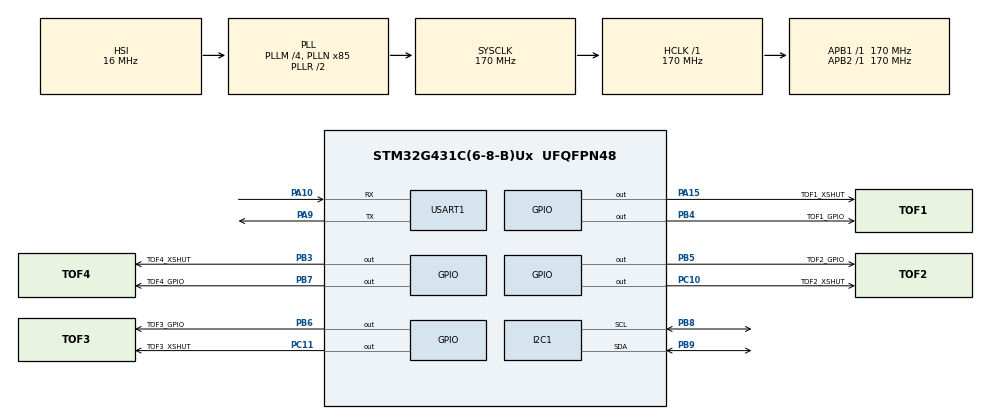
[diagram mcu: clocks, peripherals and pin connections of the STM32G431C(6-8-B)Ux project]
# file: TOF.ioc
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I2C1.I2C_Fall_Time=100
I2C1.I2C_Rise_Time=100
I2C1.Timing=0x40B285C2
Mcu.Family=STM32G4
Mcu.Name=STM32G431C(6-8-B)Ux
Mcu.Package=UFQFPN48
NVIC.PriorityGroup=NVIC_PRIORITYGROUP_4
PA10.Mode=Asynchronous
PA10.Signal=USART1_RX
PA13.Mode=Serial_Wire
PA13.Signal=SYS_JTMS-SWDIO
PA14.Mode=Serial_Wire
PA14.Signal=SYS_JTCK-SWCLK
PA15.GPIO_Label=TOF1_XSHUT
PA15.Signal=GPIO_Output
PA9.Mode=Asynchronous
PA9.Signal=USART1_TX
PB3.GPIO_Label=TOF4_XSHUT
PB3.Signal=GPIO_Output
PB4.GPIO_Label=TOF1_GPIO
PB4.Signal=GPIO_Output
PB5.GPIO_Label=TOF2_GPIO
PB5.Signal=GPIO_Output
PB6.GPIO_Label=TOF3_GPIO
PB6.Signal=GPIO_Output
PB7.GPIO_Label=TOF4_GPIO
PB7.Signal=GPIO_Output
PB8-BOOT0.Mode=I2C
PB8-BOOT0.Signal=I2C1_SCL
PB9.Mode=I2C
PB9.Signal=I2C1_SDA
PC10.GPIO_Label=TOF2_XSHUT
PC10.Signal=GPIO_Output
PC11.GPIO_Label=TOF3_XSHUT
PC11.Signal=GPIO_Output
ProjectManager.HeapSize=0x200
ProjectManager.StackSize=0x400
ProjectManager.TargetToolchain=STM32CubeIDE
RCC.ADC12Freq_Value=170000000
RCC.AHBFreq_Value=170000000
RCC.APB1Freq_Value=170000000
RCC.APB1TimFreq_Value=170000000
RCC.APB2Freq_Value=170000000
RCC.APB2TimFreq_Value=170000000
RCC.CortexFreq_Value=170000000
RCC.EXTERNAL_CLOCK_VALUE=12288000
RCC.HCLKFreq_Value=170000000
RCC.HSE_VALUE=8000000
RCC.HSI48_VALUE=48000000
RCC.HSI_VALUE=16000000
RCC.LSE_VALUE=32768
RCC.PLLM=RCC_PLLM_DIV4
RCC.PLLN=85
RCC.SYSCLKFreq_VALUE=170000000
RCC.SYSCLKSource=RCC_SYSCLKSOURCE_PLLCLK
RCC.USBFreq_Value=170000000
RCC.VCOOutputFreq_Value=340000000
USART1.VirtualMode-Asynchronous=VM_ASYNC
VP_SYS_VS_DBSignals.Mode=DisableDeadBatterySignals
board=custom

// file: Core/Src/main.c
/* USER CODE BEGIN Header */
/**
  ******************************************************************************
  * @file           : main.c
  * @brief          : Main program body
  ******************************************************************************
  * @attention
  *
  * Copyright (c) 2025 STMicroelectronics.
  * All rights reserved.
  *
  * This software is licensed under terms that can be found in the LICENSE file
  * in the root directory of this software component.
  * If no LICENSE file comes with this software, it is provided AS-IS.
  *
  ******************************************************************************
  */
/* USER CODE END Header */
#include "main.h"

/* USER CODE BEGIN Includes */
#include "VL53L0X.h"
#include "stdio.h"
#include "string.h"
/* USER CODE END Includes */

I2C_HandleTypeDef hi2c1;

UART_HandleTypeDef huart1;

/* USER CODE BEGIN PV */
VL53L0X_Dev_t tof1, tof2, tof3, tof4;
statInfo_t_VL53L0X measure1, measure2, measure3, measure4;
uint16_t dist1, dist2, dist3, dist4;
/* USER CODE END PV */

void SystemClock_Config(void);
static void MX_GPIO_Init(void);
static void MX_I2C1_Init(void);
static void MX_USART1_UART_Init(void);

/* USER CODE BEGIN 0 */
int __io_putchar(int ch)
{
	HAL_UART_Transmit(&huart1, (uint8_t*)&ch, 1, HAL_MAX_DELAY);

	return ch;
}

/* USER CODE END 0 */

int main(void)
{

  /* MCU Configuration--------------------------------------------------------*/

  /* Reset of all peripherals, Initializes the Flash interface and the Systick. */
  HAL_Init();

  /* Configure the system clock */
  SystemClock_Config();

  /* Initialize all configured peripherals */
  MX_GPIO_Init();
  MX_I2C1_Init();
  MX_USART1_UART_Init();
  /* USER CODE BEGIN 2 */
  // Reset all sensors
  HAL_GPIO_WritePin(TOF1_XSHUT_GPIO_Port, TOF1_XSHUT_Pin, GPIO_PIN_RESET);
  HAL_GPIO_WritePin(TOF2_XSHUT_GPIO_Port, TOF2_XSHUT_Pin, GPIO_PIN_RESET);
  HAL_GPIO_WritePin(TOF3_XSHUT_GPIO_Port, TOF3_XSHUT_Pin, GPIO_PIN_RESET);
  HAL_GPIO_WritePin(TOF4_XSHUT_GPIO_Port, TOF4_XSHUT_Pin, GPIO_PIN_RESET);
  HAL_Delay(20);

  // --- TOF 1 ---
  HAL_GPIO_WritePin(TOF1_XSHUT_GPIO_Port, TOF1_XSHUT_Pin, GPIO_PIN_SET);
  HAL_Delay(20);
  initVL53L0X(&tof1, 1, &hi2c1);
  setAddress_VL53L0X(&tof1, 0x54); // 0x2A << 1
  setSignalRateLimit(&tof1, 0.1);
  setVcselPulsePeriod(&tof1, VcselPeriodPreRange, 18);
  setVcselPulsePeriod(&tof1, VcselPeriodFinalRange, 14);
  setMeasurementTimingBudget(&tof1, 200000);

  // --- TOF 2 ---
  HAL_GPIO_WritePin(TOF2_XSHUT_GPIO_Port, TOF2_XSHUT_Pin, GPIO_PIN_SET);
  HAL_Delay(20);
  initVL53L0X(&tof2, 1, &hi2c1);
  setAddress_VL53L0X(&tof2, 0x56); // 0x2B << 1
  setSignalRateLimit(&tof2, 0.1);
  setVcselPulsePeriod(&tof2, VcselPeriodPreRange, 18);
  setVcselPulsePeriod(&tof2, VcselPeriodFinalRange, 14);
  setMeasurementTimingBudget(&tof2, 200000);

  // --- TOF 3 ---
  HAL_GPIO_WritePin(TOF3_XSHUT_GPIO_Port, TOF3_XSHUT_Pin, GPIO_PIN_SET);
  HAL_Delay(20);
  initVL53L0X(&tof3, 1, &hi2c1);
  setAddress_VL53L0X(&tof3, 0x58); // 0x2C << 1
  setSignalRateLimit(&tof3, 0.1);
  setVcselPulsePeriod(&tof3, VcselPeriodPreRange, 18);
  setVcselPulsePeriod(&tof3, VcselPeriodFinalRange, 14);
  setMeasurementTimingBudget(&tof3, 200000);

  // --- TOF 4 ---
  HAL_GPIO_WritePin(TOF4_XSHUT_GPIO_Port, TOF4_XSHUT_Pin, GPIO_PIN_SET);
  HAL_Delay(20);
  initVL53L0X(&tof4, 1, &hi2c1);
  setAddress_VL53L0X(&tof4, 0x5A); // 0x2D << 1
  setSignalRateLimit(&tof4, 0.1);
  setVcselPulsePeriod(&tof4, VcselPeriodPreRange, 18);
  setVcselPulsePeriod(&tof4, VcselPeriodFinalRange, 14);
  setMeasurementTimingBudget(&tof4, 200000);
  /* USER CODE END 2 */

  /* Infinite loop */
  /* USER CODE BEGIN WHILE */
  while (1)
  {
    dist1 = readRangeSingleMillimeters(&tof1, &measure1);
    dist2 = readRangeSingleMillimeters(&tof2, &measure2);
    dist3 = readRangeSingleMillimeters(&tof3, &measure3);
    dist4 = readRangeSingleMillimeters(&tof4, &measure4);

    // Optional: Print to UART for debugging
    char debugStr[64];
    sprintf(debugStr, "D1:%d D2:%d D3:%d D4:%d\r\n", dist1, dist2, dist3, dist4);
    HAL_UART_Transmit(&huart1, (uint8_t*)debugStr, strlen(debugStr), 100);

    HAL_Delay(100);
    /* USER CODE END WHILE */

  }
}

void SystemClock_Config(void)
{
  RCC_OscInitTypeDef RCC_OscInitStruct = {0};
  RCC_ClkInitTypeDef RCC_ClkInitStruct = {0};

  /** Configure the main internal regulator output voltage
  */
  HAL_PWREx_ControlVoltageScaling(PWR_REGULATOR_VOLTAGE_SCALE1_BOOST);

  /** Initializes the RCC Oscillators according to the specified parameters
  * in the RCC_OscInitTypeDef structure.
  */
  RCC_OscInitStruct.OscillatorType = RCC_OSCILLATORTYPE_HSI;
  RCC_OscInitStruct.HSIState = RCC_HSI_ON;
  RCC_OscInitStruct.HSICalibrationValue = RCC_HSICALIBRATION_DEFAULT;
  RCC_OscInitStruct.PLL.PLLState = RCC_PLL_ON;
  RCC_OscInitStruct.PLL.PLLSource = RCC_PLLSOURCE_HSI;
  RCC_OscInitStruct.PLL.PLLM = RCC_PLLM_DIV4;
  RCC_OscInitStruct.PLL.PLLN = 85;
  RCC_OscInitStruct.PLL.PLLP = RCC_PLLP_DIV2;
  RCC_OscInitStruct.PLL.PLLQ = RCC_PLLQ_DIV2;
  RCC_OscInitStruct.PLL.PLLR = RCC_PLLR_DIV2;
  if (HAL_RCC_OscConfig(&RCC_OscInitStruct) != HAL_OK)
  {
    Error_Handler();
  }

  /** Initializes the CPU, AHB and APB buses clocks
  */
  RCC_ClkInitStruct.ClockType = RCC_CLOCKTYPE_HCLK|RCC_CLOCKTYPE_SYSCLK
                              |RCC_CLOCKTYPE_PCLK1|RCC_CLOCKTYPE_PCLK2;
  RCC_ClkInitStruct.SYSCLKSource = RCC_SYSCLKSOURCE_PLLCLK;
  RCC_ClkInitStruct.AHBCLKDivider = RCC_SYSCLK_DIV1;
  RCC_ClkInitStruct.APB1CLKDivider = RCC_HCLK_DIV1;
  RCC_ClkInitStruct.APB2CLKDivider = RCC_HCLK_DIV1;

  if (HAL_RCC_ClockConfig(&RCC_ClkInitStruct, FLASH_LATENCY_4) != HAL_OK)
  {
    Error_Handler();
  }
}

static void MX_I2C1_Init(void)
{

  hi2c1.Instance = I2C1;
  hi2c1.Init.Timing = 0x40B285C2;
  hi2c1.Init.OwnAddress1 = 0;
  hi2c1.Init.AddressingMode = I2C_ADDRESSINGMODE_7BIT;
  hi2c1.Init.DualAddressMode = I2C_DUALADDRESS_DISABLE;
  hi2c1.Init.OwnAddress2 = 0;
  hi2c1.Init.OwnAddress2Masks = I2C_OA2_NOMASK;
  hi2c1.Init.GeneralCallMode = I2C_GENERALCALL_DISABLE;
  hi2c1.Init.NoStretchMode = I2C_NOSTRETCH_DISABLE;
  if (HAL_I2C_Init(&hi2c1) != HAL_OK)
  {
    Error_Handler();
  }

  /** Configure Analogue filter
  */
  if (HAL_I2CEx_ConfigAnalogFilter(&hi2c1, I2C_ANALOGFILTER_ENABLE) != HAL_OK)
  {
    Error_Handler();
  }

  /** Configure Digital filter
  */
  if (HAL_I2CEx_ConfigDigitalFilter(&hi2c1, 0) != HAL_OK)
  {
    Error_Handler();
  }

}

static void MX_USART1_UART_Init(void)
{

  huart1.Instance = USART1;
  huart1.Init.BaudRate = 115200;
  huart1.Init.WordLength = UART_WORDLENGTH_8B;
  huart1.Init.StopBits = UART_STOPBITS_1;
  huart1.Init.Parity = UART_PARITY_NONE;
  huart1.Init.Mode = UART_MODE_TX_RX;
  huart1.Init.HwFlowCtl = UART_HWCONTROL_NONE;
  huart1.Init.OverSampling = UART_OVERSAMPLING_16;
  huart1.Init.OneBitSampling = UART_ONE_BIT_SAMPLE_DISABLE;
  huart1.Init.ClockPrescaler = UART_PRESCALER_DIV1;
  huart1.AdvancedInit.AdvFeatureInit = UART_ADVFEATURE_NO_INIT;
  if (HAL_UART_Init(&huart1) != HAL_OK)
  {
    Error_Handler();
  }
  if (HAL_UARTEx_SetTxFifoThreshold(&huart1, UART_TXFIFO_THRESHOLD_1_8) != HAL_OK)
  {
    Error_Handler();
  }
  if (HAL_UARTEx_SetRxFifoThreshold(&huart1, UART_RXFIFO_THRESHOLD_1_8) != HAL_OK)
  {
    Error_Handler();
  }
  if (HAL_UARTEx_DisableFifoMode(&huart1) != HAL_OK)
  {
    Error_Handler();
  }

}

static void MX_GPIO_Init(void)
{
  GPIO_InitTypeDef GPIO_InitStruct = {0};

  /* GPIO Ports Clock Enable */
  __HAL_RCC_GPIOA_CLK_ENABLE();
  __HAL_RCC_GPIOC_CLK_ENABLE();
  __HAL_RCC_GPIOB_CLK_ENABLE();

  /*Configure GPIO pin Output Level */
  HAL_GPIO_WritePin(TOF1_XSHUT_GPIO_Port, TOF1_XSHUT_Pin, GPIO_PIN_RESET);

  /*Configure GPIO pin Output Level */
  HAL_GPIO_WritePin(GPIOC, TOF2_XSHUT_Pin|TOF3_XSHUT_Pin, GPIO_PIN_RESET);

  /*Configure GPIO pin Output Level */
  HAL_GPIO_WritePin(GPIOB, TOF4_XSHUT_Pin|TOF1_GPIO_Pin|TOF2_GPIO_Pin|TOF3_GPIO_Pin
                          |TOF4_GPIO_Pin, GPIO_PIN_RESET);

  /*Configure GPIO pin : TOF1_XSHUT_Pin */
  GPIO_InitStruct.Pin = TOF1_XSHUT_Pin;
  GPIO_InitStruct.Mode = GPIO_MODE_OUTPUT_PP;
  GPIO_InitStruct.Pull = GPIO_NOPULL;
  GPIO_InitStruct.Speed = GPIO_SPEED_FREQ_LOW;
  HAL_GPIO_Init(TOF1_XSHUT_GPIO_Port, &GPIO_InitStruct);

  /*Configure GPIO pins : TOF2_XSHUT_Pin TOF3_XSHUT_Pin */
  GPIO_InitStruct.Pin = TOF2_XSHUT_Pin|TOF3_XSHUT_Pin;
  GPIO_InitStruct.Mode = GPIO_MODE_OUTPUT_PP;
  GPIO_InitStruct.Pull = GPIO_NOPULL;
  GPIO_InitStruct.Speed = GPIO_SPEED_FREQ_LOW;
  HAL_GPIO_Init(GPIOC, &GPIO_InitStruct);

  /*Configure GPIO pins : TOF4_XSHUT_Pin TOF1_GPIO_Pin TOF2_GPIO_Pin TOF3_GPIO_Pin
                           TOF4_GPIO_Pin */
  GPIO_InitStruct.Pin = TOF4_XSHUT_Pin|TOF1_GPIO_Pin|TOF2_GPIO_Pin|TOF3_GPIO_Pin
                          |TOF4_GPIO_Pin;
  GPIO_InitStruct.Mode = GPIO_MODE_OUTPUT_PP;
  GPIO_InitStruct.Pull = GPIO_NOPULL;
  GPIO_InitStruct.Speed = GPIO_SPEED_FREQ_LOW;
  HAL_GPIO_Init(GPIOB, &GPIO_InitStruct);

}

void Error_Handler(void)
{
  __disable_irq();
  while (1)
  {
  }
}
